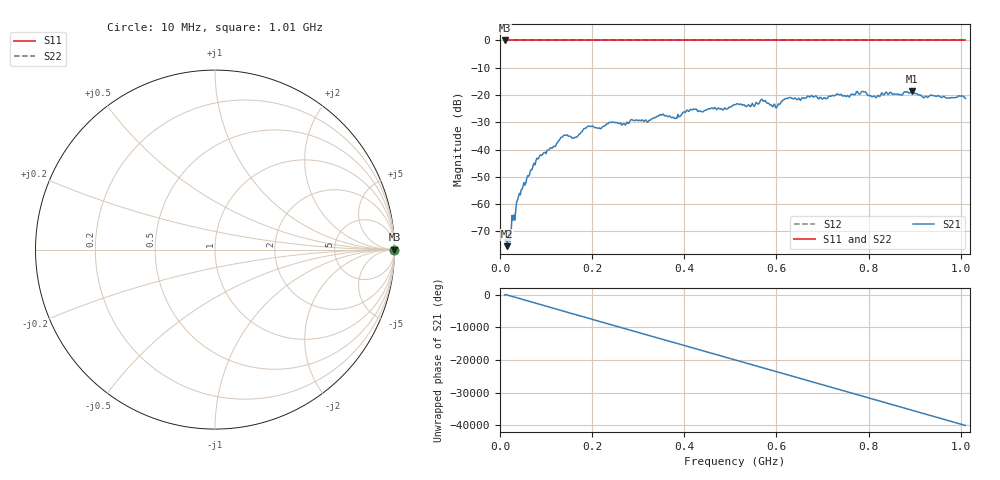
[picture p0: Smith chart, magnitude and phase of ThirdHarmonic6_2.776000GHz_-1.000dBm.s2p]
! 8/17/2025 7:05:38 AM
! C:\ANRITSUVNA\TEMP\TEMP.S2P
! CHANNEL.1
! TR.MEASUREMENT
! RAW.DATA
! RF.CORRECTION.OFF
! AVERAGING.OFF
! IF.BANDWIDTH: 5KHZ
! SWEEPTYPE:  FREQ.SWEEP(Linear)
! Reference Plane Port Info
! PORT:  PORT1  PORT2
! DISTANCE:  0  m  0  m
! TIME:  0  s  0  s
! PHASE.OFFSET:  0  deg.  0  deg.
! LOSS:  0  dB  0  dB
! REF.LOSS:  0  dB  0  dB
! REF.FREQ:  0  Hz  0  Hz
! Power Info
! POWER:  -20  dBm  -20  dBm
! EFF.POWER:  -20  dBm  -20  dBm
! SOURCE.ATTEN:  0  dB  0  dB
! TEST.ATTEN:  0  dB  0  dB
# GHZ S RI R 50.0
! FREQ.GHZ  S11RE  S11IM  S21RE  S21IM  S12RE  S12IM  S22RE  S22IM
!; PortSelection: Port_12
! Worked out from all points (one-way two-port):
!   501 points, 10 MHz to 1.01 GHz, reference 50 ohm
!   highest |S21| = -18.58 dB at 894 MHz (marker M1); lowest = -75.4 dB at 16 MHz (marker M2)
!   lowest |S11| = 0.0 dB at 10 MHz (marker M3)
!   |S11| at or under -10 dB: nowhere
!   |S22| runs from 0.0 to 0.0 dB; largest |S21 - S12| = 1.1
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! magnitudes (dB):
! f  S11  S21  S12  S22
! 10 MHz  0.0  -73.2  0.0  0.0
! 16 MHz  0.0  -75.4  0.0  0.0
! 20 MHz  0.0  -69.9  0.0  0.0
! 42 MHz  0.0  -56.0  0.0  0.0
! 82 MHz  0.0  -43.4  0.0  0.0
! 136 MHz  0.0  -35.3  0.0  0.0
! 162 MHz  0.0  -35.6  0.0  0.0
! 178 MHz  0.0  -33.5  0.0  0.0
! 192 MHz  0.0  -31.4  0.0  0.0
! 322 MHz  0.0  -29.6  0.0  0.0
! 344 MHz  0.0  -27.7  0.0  0.0
! 380 MHz  0.0  -28.7  0.0  0.0
! 416 MHz  0.0  -25.4  0.0  0.0
! 510 MHz  0.0  -23.6  0.0  0.0
! 570 MHz  0.0  -22.0  0.0  0.0
! 602 MHz  0.0  -24.0  0.0  0.0
! 624 MHz  0.0  -21.3  0.0  0.0
! 678 MHz  0.0  -20.4  0.0  0.0
! 844 MHz  0.0  -19.6  0.0  0.0
! 894 MHz  0.0  -18.6  0.0  0.0
! 920 MHz  0.0  -21.0  0.0  0.0
! 1.01 GHz  0.0  -21.3  0.0  0.0
